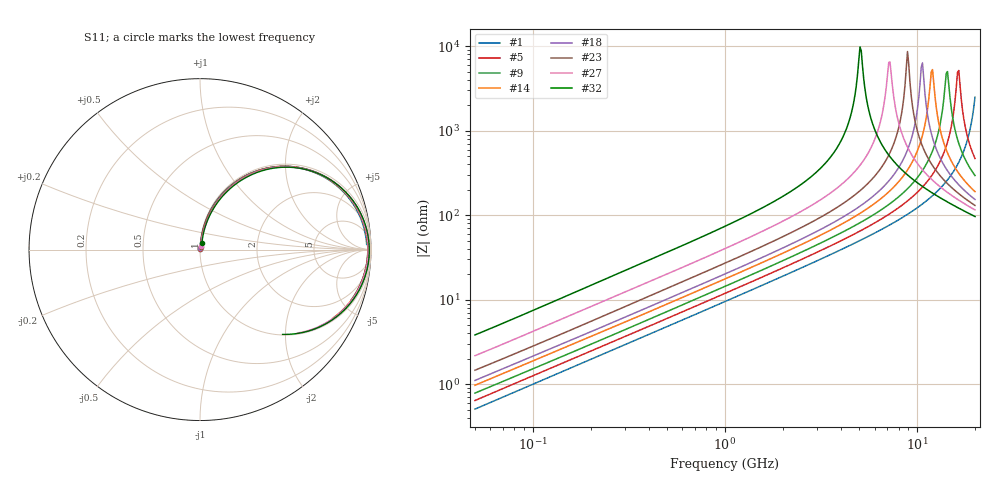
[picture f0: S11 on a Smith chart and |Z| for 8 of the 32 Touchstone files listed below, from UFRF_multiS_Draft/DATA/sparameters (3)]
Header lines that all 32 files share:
!These Parameters are Measured in Series Mode Connection
!  o--[Z]--o
!Port1  Port2
!  o-------o
!Freq. Start=50[MHz] Stop=20[GHz], 401[Steps]
# Hz S RI R 50
!Freq.(Hz) S11(Real) S11(Imag) S21(Real) S21(Imag) S12(Real) S12(Imag) S22(Real) S22(Imag)
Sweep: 50 MHz to 20 GHz
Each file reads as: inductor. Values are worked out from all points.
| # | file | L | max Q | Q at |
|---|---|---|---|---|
| 1 | LQP15MN1N9W02_series.s2p | 1.6 nH | 50 | 3.681 GHz |
| 2 | LQP15MN2N0B02_series.s2p | 1.7 nH | 52.1 | 3.85 GHz |
| 3 | LQP15MN2N1W02_series.s2p | 1.81 nH | 50.8 | 3.626 GHz |
| 4 | LQP15MN2N2B02_series.s2p | 1.91 nH | 48.4 | 3.572 GHz |
| 5 | LQP15MN2N3W02_series.s2p | 2.01 nH | 48.4 | 3.967 GHz |
| 6 | LQP15MN2N4B02_series.s2p | 2.11 nH | 50.9 | 3.572 GHz |
| 7 | LQP15MN2N5W02_series.s2p | 2.22 nH | 39.9 | 2.647 GHz |
| 8 | LQP15MN2N6W02_series.s2p | 2.33 nH | 45.3 | 3.467 GHz |
| 9 | LQP15MN2N7B02_series.s2p | 2.42 nH | 46 | 3.364 GHz |
| 10 | LQP15MN2N8W02_series.s2p | 2.54 nH | 42.1 | 3.364 GHz |
| 11 | LQP15MN2N9W02_series.s2p | 2.63 nH | 40.9 | 3.217 GHz |
| 12 | LQP15MN3N0B02_series.s2p | 2.72 nH | 40.3 | 3.169 GHz |
| 13 | LQP15MN3N1W02_series.s2p | 2.84 nH | 37.1 | 3.265 GHz |
| 14 | LQP15MN3N2W02_series.s2p | 3.01 nH | 35.7 | 3.415 GHz |
| 15 | LQP15MN3N3B02_series.s2p | 3.12 nH | 34.7 | 3.364 GHz |
| 16 | LQP15MN3N4W02_series.s2p | 3.22 nH | 34.9 | 3.217 GHz |
| 17 | LQP15MN3N5W02_series.s2p | 3.31 nH | 38 | 3.03 GHz |
| 18 | LQP15MN3N6B02_series.s2p | 3.43 nH | 38 | 3.314 GHz |
| 19 | LQP15MN3N7W02_series.s2p | 3.53 nH | 38.4 | 3.265 GHz |
| 20 | LQP15MN3N8W02_series.s2p | 3.63 nH | 37.5 | 3.169 GHz |
| 21 | LQP15MN3N9B02_series.s2p | 3.73 nH | 38.5 | 3.122 GHz |
| 22 | LQP15MN4N3B02_series.s2p | 4.12 nH | 38.6 | 2.896 GHz |
| 23 | LQP15MN4N7B02_series.s2p | 4.49 nH | 38.1 | 3.075 GHz |
| 24 | LQP15MN5N1B02_series.s2p | 4.89 nH | 37.8 | 2.896 GHz |
| 25 | LQP15MN5N6B02_series.s2p | 5.52 nH | 30.1 | 2.811 GHz |
| 26 | LQP15MN6N2B02_series.s2p | 6.08 nH | 32 | 2.314 GHz |
| 27 | LQP15MN6N8B02_series.s2p | 6.65 nH | 31.6 | 2.179 GHz |
| 28 | LQP15MN7N5B02_series.s2p | 7.31 nH | 32.9 | 2.179 GHz |
| 29 | LQP15MN8N2B02_series.s2p | 8 nH | 32.1 | 2.083 GHz |
| 30 | LQP15MN9N1B02_series.s2p | 8.87 nH | 31.3 | 2.179 GHz |
| 31 | LQP15MN10NG02_series.s2p | 9.89 nH | 28.6 | 2.022 GHz |
| 32 | LQP15MN12NG02_series.s2p | 11.8 nH | 29 | 1.741 GHz |
